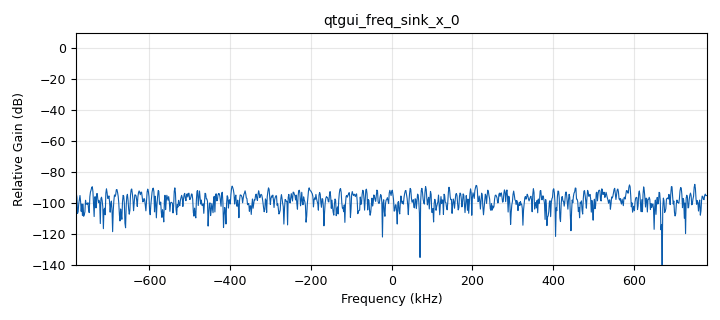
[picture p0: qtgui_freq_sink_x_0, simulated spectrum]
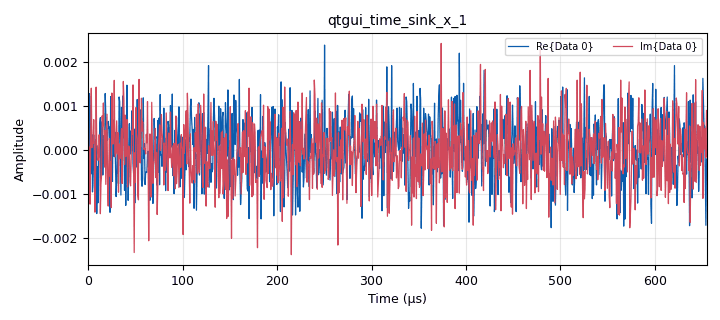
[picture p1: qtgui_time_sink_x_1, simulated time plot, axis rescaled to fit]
options:
  parameters:
    author: Barrios-Jimenez
    copyright: Uis
    generate_options: qt_gui
    id: Transmisor_H1
    output_language: python
    title: Transmisor_H1
  states: {}

blocks:
- name: GTX
  id: variable_qtgui_range
  parameters:
    label: Ganancia T
    start: '0'
    step: '1'
    stop: '30'
    value: '6'
  states: {}
- name: 'NO'
  id: variable_qtgui_range
  parameters:
    start: '1e-6'
    step: '1e-6'
    stop: '500e-3'
    value: '1e-3'
  states: {}
- name: fc
  id: variable_qtgui_range
  parameters:
    label: frecuencia central
    start: '50000000'
    step: '1'
    stop: '220000000'
    value: '200000000'
  states: {}
- name: samp_rate
  id: variable
  parameters:
    value: 12500000/8
  states: {}
- name: analog_noise_source_x_0
  id: analog_noise_source_x
  parameters:
    amp: 'NO'
    noise_type: analog.GR_GAUSSIAN
    seed: '0'
    type: complex
  states: {}
- name: blocks_throttle_0
  id: blocks_throttle
  parameters:
    samples_per_second: samp_rate
    type: complex
  states: {}
- name: qtgui_freq_sink_x_0
  id: qtgui_freq_sink_x
  parameters:
    bw: samp_rate
    fc: '0'
    fftsize: '1024'
    type: complex
  states: {}
- name: qtgui_time_sink_x_1
  id: qtgui_time_sink_x
  parameters:
    size: '1024'
    srate: samp_rate
    type: complex
  states: {}
- name: uhd_usrp_sink_0
  id: uhd_usrp_sink
  parameters:
    ant0: '"TX/RX"'
    center_freq0: fc
    gain0: GTX
    samp_rate: samp_rate
    sync: pc_clock
    type: fc32
  states: {}

connections:
- [analog_noise_source_x_0, '0', blocks_throttle_0, '0']
- [blocks_throttle_0, '0', qtgui_freq_sink_x_0, '0']
- [blocks_throttle_0, '0', qtgui_time_sink_x_1, '0']
- [blocks_throttle_0, '0', uhd_usrp_sink_0, '0']

metadata:
  file_format: 1
